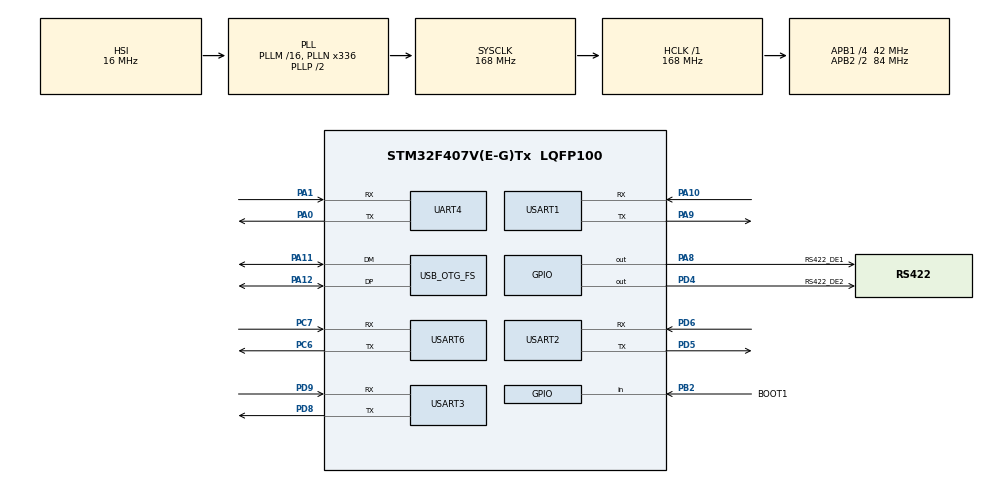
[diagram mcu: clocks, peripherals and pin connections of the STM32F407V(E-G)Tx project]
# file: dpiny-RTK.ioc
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Dma.Request0=UART4_RX
Dma.Request1=USART1_TX
Dma.Request2=USART6_RX
Dma.Request3=USART2_TX
Dma.UART4_RX.0.Direction=DMA_PERIPH_TO_MEMORY
Dma.UART4_RX.0.FIFOMode=DMA_FIFOMODE_DISABLE
Dma.UART4_RX.0.Instance=DMA1_Stream2
Dma.UART4_RX.0.MemDataAlignment=DMA_MDATAALIGN_BYTE
Dma.UART4_RX.0.MemInc=DMA_MINC_ENABLE
Dma.UART4_RX.0.Mode=DMA_CIRCULAR
Dma.UART4_RX.0.PeriphDataAlignment=DMA_PDATAALIGN_BYTE
Dma.UART4_RX.0.PeriphInc=DMA_PINC_DISABLE
Dma.UART4_RX.0.Priority=DMA_PRIORITY_VERY_HIGH
Dma.USART1_TX.1.Direction=DMA_MEMORY_TO_PERIPH
Dma.USART1_TX.1.FIFOMode=DMA_FIFOMODE_DISABLE
Dma.USART1_TX.1.Instance=DMA2_Stream7
Dma.USART1_TX.1.MemDataAlignment=DMA_MDATAALIGN_BYTE
Dma.USART1_TX.1.MemInc=DMA_MINC_ENABLE
Dma.USART1_TX.1.Mode=DMA_NORMAL
Dma.USART1_TX.1.PeriphDataAlignment=DMA_PDATAALIGN_BYTE
Dma.USART1_TX.1.PeriphInc=DMA_PINC_DISABLE
Dma.USART1_TX.1.Priority=DMA_PRIORITY_VERY_HIGH
Dma.USART2_TX.3.Direction=DMA_MEMORY_TO_PERIPH
Dma.USART2_TX.3.FIFOMode=DMA_FIFOMODE_DISABLE
Dma.USART2_TX.3.Instance=DMA1_Stream6
Dma.USART2_TX.3.MemDataAlignment=DMA_MDATAALIGN_BYTE
Dma.USART2_TX.3.MemInc=DMA_MINC_ENABLE
Dma.USART2_TX.3.Mode=DMA_NORMAL
Dma.USART2_TX.3.PeriphDataAlignment=DMA_PDATAALIGN_BYTE
Dma.USART2_TX.3.PeriphInc=DMA_PINC_DISABLE
Dma.USART2_TX.3.Priority=DMA_PRIORITY_HIGH
Dma.USART6_RX.2.Direction=DMA_PERIPH_TO_MEMORY
Dma.USART6_RX.2.FIFOMode=DMA_FIFOMODE_DISABLE
Dma.USART6_RX.2.Instance=DMA2_Stream1
Dma.USART6_RX.2.MemDataAlignment=DMA_MDATAALIGN_BYTE
Dma.USART6_RX.2.MemInc=DMA_MINC_ENABLE
Dma.USART6_RX.2.Mode=DMA_CIRCULAR
Dma.USART6_RX.2.PeriphDataAlignment=DMA_PDATAALIGN_BYTE
Dma.USART6_RX.2.PeriphInc=DMA_PINC_DISABLE
Dma.USART6_RX.2.Priority=DMA_PRIORITY_HIGH
FREERTOS.Tasks01=defaultTask,24,128,StartDefaultTask,Default,NULL,Dynamic,NULL,NULL
IWDG.Prescaler=IWDG_PRESCALER_64
IWDG.Reload=4095
Mcu.Family=STM32F4
Mcu.Name=STM32F407V(E-G)Tx
Mcu.Package=LQFP100
NVIC.DMA1_Stream2_IRQn=true\:5\:0\:false\:false\:true\:true\:false\:true\:true
NVIC.DMA1_Stream6_IRQn=true\:5\:0\:false\:false\:true\:true\:false\:true\:true
NVIC.DMA2_Stream1_IRQn=true\:5\:0\:false\:false\:true\:true\:false\:true\:true
NVIC.DMA2_Stream7_IRQn=true\:5\:0\:false\:false\:true\:true\:false\:true\:true
NVIC.OTG_FS_IRQn=true\:5\:0\:false\:false\:true\:true\:false\:true\:true
NVIC.PriorityGroup=NVIC_PRIORITYGROUP_4
NVIC.UART4_IRQn=true\:5\:0\:false\:false\:true\:true\:false\:true\:true
NVIC.USART1_IRQn=true\:5\:0\:false\:false\:true\:true\:false\:true\:true
NVIC.USART2_IRQn=true\:5\:0\:false\:false\:true\:true\:false\:true\:true
NVIC.USART3_IRQn=true\:5\:0\:false\:false\:true\:true\:false\:true\:true
NVIC.USART6_IRQn=true\:5\:0\:false\:false\:true\:true\:false\:true\:true
PA0-WKUP.Mode=Asynchronous
PA0-WKUP.Signal=UART4_TX
PA1.Mode=Asynchronous
PA1.Signal=UART4_RX
PA10.Mode=Asynchronous
PA10.Signal=USART1_RX
PA11.Mode=Device_Only
PA11.Signal=USB_OTG_FS_DM
PA12.Mode=Device_Only
PA12.Signal=USB_OTG_FS_DP
PA13.Mode=Serial_Wire
PA13.Signal=SYS_JTMS-SWDIO
PA14.Mode=Serial_Wire
PA14.Signal=SYS_JTCK-SWCLK
PA8.GPIO_Label=RS422_DE1
PA8.Signal=GPIO_Output
PA9.Mode=Asynchronous
PA9.Signal=USART1_TX
PB2.GPIO_Label=BOOT1
PB2.Signal=GPIO_Input
PC14-OSC32_IN.Mode=LSE-External-Oscillator
PC14-OSC32_IN.Signal=RCC_OSC32_IN
PC15-OSC32_OUT.Mode=LSE-External-Oscillator
PC15-OSC32_OUT.Signal=RCC_OSC32_OUT
PC6.Mode=Asynchronous
PC6.Signal=USART6_TX
PC7.Mode=Asynchronous
PC7.Signal=USART6_RX
PD4.GPIO_Label=RS422_DE2
PD4.Signal=GPIO_Output
PD5.Mode=Asynchronous
PD5.Signal=USART2_TX
PD6.Mode=Asynchronous
PD6.Signal=USART2_RX
PD8.Mode=Asynchronous
PD8.Signal=USART3_TX
PD9.Mode=Asynchronous
PD9.Signal=USART3_RX
PH0-OSC_IN.Mode=HSE-External-Oscillator
PH0-OSC_IN.Signal=RCC_OSC_IN
PH1-OSC_OUT.Mode=HSE-External-Oscillator
PH1-OSC_OUT.Signal=RCC_OSC_OUT
ProjectManager.HeapSize=0x200
ProjectManager.StackSize=0x400
ProjectManager.TargetToolchain=CMake
RCC.AHBFreq_Value=168000000
RCC.APB1CLKDivider=RCC_HCLK_DIV4
RCC.APB1Freq_Value=42000000
RCC.APB1TimFreq_Value=84000000
RCC.APB2CLKDivider=RCC_HCLK_DIV2
RCC.APB2Freq_Value=84000000
RCC.APB2TimFreq_Value=168000000
RCC.CortexFreq_Value=168000000
RCC.HCLKFreq_Value=168000000
RCC.HSE_VALUE=25000000
RCC.HSI_VALUE=16000000
RCC.PLLM=25
RCC.PLLN=336
RCC.PLLP=RCC_PLLP_DIV2
RCC.PLLQ=7
RCC.SYSCLKFreq_VALUE=168000000
RCC.SYSCLKSource=RCC_SYSCLKSOURCE_PLLCLK
RCC.VCOOutputFreq_Value=336000000
UART4.VirtualMode=Asynchronous
USART1.VirtualMode=VM_ASYNC
USART2.VirtualMode=VM_ASYNC
USART3.VirtualMode=VM_ASYNC
USART6.VirtualMode=VM_ASYNC
USB_DEVICE.CLASS_NAME_FS=CDC
USB_DEVICE.VirtualMode=CDC_FS
USB_DEVICE.VirtualMode-CDC_FS=Cdc
USB_DEVICE.VirtualModeFS=Cdc_FS
USB_OTG_FS.VirtualMode=Device_Only
VP_FREERTOS_VS_CMSIS_V2.Mode=CMSIS_V2
VP_IWDG_VS_IWDG.Mode=IWDG_Activate
VP_SYS_VS_tim1.Mode=TIM1
VP_USB_DEVICE_VS_USB_DEVICE_CDC_FS.Mode=CDC_FS
board=custom

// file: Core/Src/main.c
/* USER CODE BEGIN Header */
/**
  ******************************************************************************
  * @file           : main.c
  * @brief          : Main program body
  ******************************************************************************
  * @attention
  *
  * Copyright (c) 2026 STMicroelectronics.
  * All rights reserved.
  *
  * This software is licensed under terms that can be found in the LICENSE file
  * in the root directory of this software component.
  * If no LICENSE file comes with this software, it is provided AS-IS.
  *
  ******************************************************************************
  */
/* USER CODE END Header */
#include "main.h"
#include "cmsis_os.h"
#include "dma.h"
#include "iwdg.h"
#include "usart.h"
#include "usb_device.h"
#include "gpio.h"

/* USER CODE BEGIN Includes */
#include <stdio.h>
#include "usbd_cdc_if.h"
#include "passthrough.h"
#include "config.h"
/* USER CODE END Includes */

/* USER CODE BEGIN PV */
extern USBD_HandleTypeDef hUsbDeviceFS;
uint8_t usart3_rx_byte;
/* USER CODE END PV */

void SystemClock_Config(void);
void MX_FREERTOS_Init(void);

int main(void)
{

  /* MCU Configuration--------------------------------------------------------*/

  /* Reset of all peripherals, Initializes the Flash interface and the Systick. */
  HAL_Init();

  /* Configure the system clock */
  SystemClock_Config();

  /* Initialize all configured peripherals */
  MX_GPIO_Init();
  MX_DMA_Init();
  MX_UART4_Init();
  MX_USART1_UART_Init();
  MX_USART2_UART_Init();
  MX_USART3_UART_Init();
  MX_USART6_UART_Init();
#ifndef DPINY_DISABLE_IWDG
  MX_IWDG_Init();
#endif

  Config_Load();

  /* USER CODE BEGIN 2 */
  HAL_UART_Receive_IT(&huart3, &usart3_rx_byte, 1);
  /* USER CODE END 2 */

  /* Init scheduler */
  osKernelInitialize();  /* Call init function for freertos objects (in cmsis_os2.c) */

  /* USER CODE BEGIN RTOS_PREINIT */
  Passthrough_Init();
  /* USER CODE END RTOS_PREINIT */

  MX_FREERTOS_Init();

  /* Start scheduler */
  osKernelStart();

  /* We should never get here as control is now taken by the scheduler */

  /* Infinite loop */
  while (1)
  {

  }
}

void SystemClock_Config(void)
{
  RCC_OscInitTypeDef RCC_OscInitStruct = {0};
  RCC_ClkInitTypeDef RCC_ClkInitStruct = {0};

  __HAL_RCC_PWR_CLK_ENABLE();
  __HAL_PWR_VOLTAGESCALING_CONFIG(PWR_REGULATOR_VOLTAGE_SCALE1);

  RCC_OscInitStruct.OscillatorType = RCC_OSCILLATORTYPE_HSI;
  RCC_OscInitStruct.HSIState = RCC_HSI_ON;
  RCC_OscInitStruct.HSICalibrationValue = RCC_HSICALIBRATION_DEFAULT;
  RCC_OscInitStruct.PLL.PLLState = RCC_PLL_ON;
  RCC_OscInitStruct.PLL.PLLSource = RCC_PLLSOURCE_HSI;
  RCC_OscInitStruct.PLL.PLLM = 16;
  RCC_OscInitStruct.PLL.PLLN = 336;
  RCC_OscInitStruct.PLL.PLLP = RCC_PLLP_DIV2;
  RCC_OscInitStruct.PLL.PLLQ = 7;
  if (HAL_RCC_OscConfig(&RCC_OscInitStruct) != HAL_OK)
  {
    Error_Handler();
  }

  RCC_ClkInitStruct.ClockType = RCC_CLOCKTYPE_HCLK|RCC_CLOCKTYPE_SYSCLK
                              |RCC_CLOCKTYPE_PCLK1|RCC_CLOCKTYPE_PCLK2;
  RCC_ClkInitStruct.SYSCLKSource = RCC_SYSCLKSOURCE_PLLCLK;
  RCC_ClkInitStruct.AHBCLKDivider = RCC_SYSCLK_DIV1;
  RCC_ClkInitStruct.APB1CLKDivider = RCC_HCLK_DIV4;
  RCC_ClkInitStruct.APB2CLKDivider = RCC_HCLK_DIV2;

  if (HAL_RCC_ClockConfig(&RCC_ClkInitStruct, FLASH_LATENCY_5) != HAL_OK)
  {
    Error_Handler();
  }
}

/* USER CODE BEGIN 4 */

extern void CDC_WriteAsync(const uint8_t* Buf, uint16_t Len);
extern uint8_t CDC_IsConnected(void);

static uint8_t usart3_ready = 0;

static void USART3_EnsureInit(void)
{
  if (usart3_ready) return;
  MX_USART3_UART_Init();
  HAL_UART_Receive_IT(&huart3, &usart3_rx_byte, 1);
  usart3_ready = 1;
}

int __io_putchar(int ch)
{
  uint8_t c = (uint8_t)ch;
  if (hUsbDeviceFS.pClassData != NULL && CDC_IsConnected())
  {
    CDC_WriteAsync(&c, 1);
  }
  return ch;
}

int _write(int file, char *ptr, int len)
{
  (void)file;

  /* CDC: batched async */
  if (hUsbDeviceFS.pClassData != NULL && CDC_IsConnected())
  {
    CDC_WriteAsync((uint8_t*)ptr, (uint16_t)len);
  }
  /* USART3: batched blocking (init on first use) */
  USART3_EnsureInit();
  HAL_UART_Transmit(&huart3, (uint8_t*)ptr, len, 100);
  return len;
}
/* USER CODE END 4 */

void HAL_TIM_PeriodElapsedCallback(TIM_HandleTypeDef *htim)
{
  if (htim->Instance == TIM1)
  {
    HAL_IncTick();
  }
}

void Error_Handler(void)
{
  __disable_irq();
  while (1)
  {
  }
}
